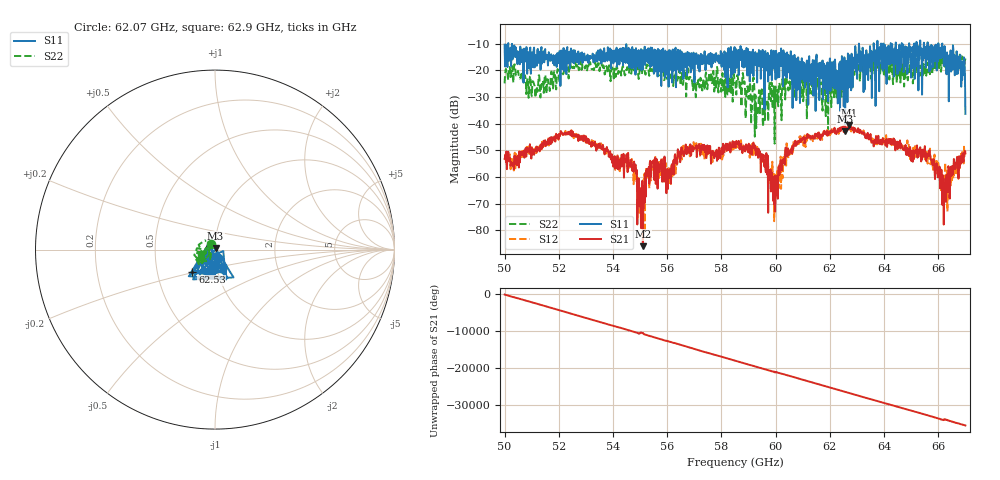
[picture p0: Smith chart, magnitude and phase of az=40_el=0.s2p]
!Created with skrf (http://scikit-rf.org).
# GHz S RI R 50.0
!freq ReS11 ImS11 ReS21 ImS21 ReS12 ImS12 ReS22 ImS22
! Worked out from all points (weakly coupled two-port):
!   1001 points, 50 GHz to 67 GHz, reference 50 ohm
!   highest |S21| = -40.44 dB at 62.72 GHz (marker M1); lowest = -86.0 dB at 55.1 GHz (marker M2)
!   lowest |S11| = -42.8 dB at 62.56 GHz (marker M3), VSWR 1.01, Z = 50.3 + j0.646 ohm
!   |S11| at or under -10 dB: 50.14 GHz to 63.07 GHz (12.94 GHz wide, 22.9 % of centre); 63.07 GHz to 63.62 GHz (542.8 MHz wide, 0.857 % of centre); 66.15 GHz to end of sweep (the widest 3 of 18)
!   |S22| runs from -47.4 to -14.0 dB; largest |S21 - S12| = 0.0021
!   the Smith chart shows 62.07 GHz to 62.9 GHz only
!   S11 on the Smith chart (normalised r, x): 62.07 GHz: 1.02, -0.10; 62.53 GHz: 0.76, -0.19; 62.9 GHz: 1.07, -0.21
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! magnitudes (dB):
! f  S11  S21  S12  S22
! 50 GHz  -10.3  -53.1  -52.2  -24.8
! 51.16 GHz  -14.5  -50.3  -51.0  -28.0
! 52.84 GHz  -14.4  -45.9  -46.7  -19.8
! 54.74 GHz  -19.0  -55.3  -56.7  -19.0
! 55.1 GHz  -19.5  -86.0  -61.4  -19.0
! 55.3 GHz  -11.7  -59.7  -59.4  -19.1
! 55.68 GHz  -13.8  -56.6  -58.0  -22.1
! 58.5 GHz  -20.8  -48.0  -47.0  -24.6
! 59.25 GHz  -13.1  -48.2  -50.5  -29.1
! 60 GHz  -23.3  -64.6  -64.9  -26.0
! 60.44 GHz  -17.2  -50.2  -51.8  -24.9
! 61.34 GHz  -24.0  -45.4  -45.6  -26.2
! 62.07 GHz  -26.1  -43.1  -42.0  -28.3
! 62.53 GHz  -15.1  -41.1  -41.4  -19.5
! 62.56 GHz  -42.8  -41.3  -42.3  -20.3
! 62.72 GHz  -14.3  -40.4  -41.4  -20.7
! 62.9 GHz  -19.3  -41.6  -41.8  -21.7
! 64.18 GHz  -17.7  -46.4  -46.8  -19.1
! 65.66 GHz  -11.6  -51.2  -50.6  -16.6
! 66.22 GHz  -14.3  -64.6  -67.1  -14.3
! 66.9 GHz  -16.6  -51.1  -51.4  -15.0
! 67 GHz  -36.3  -51.1  -50.3  -15.5
